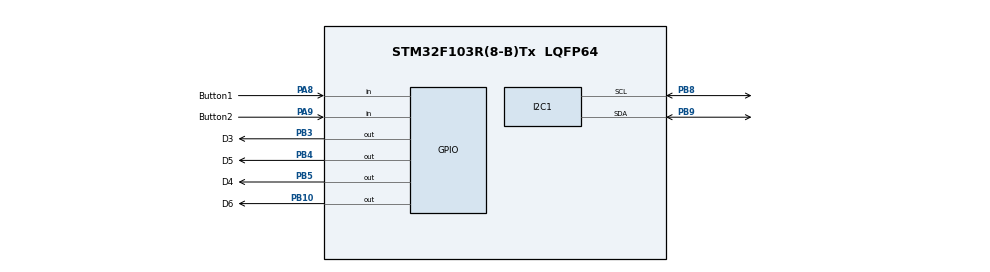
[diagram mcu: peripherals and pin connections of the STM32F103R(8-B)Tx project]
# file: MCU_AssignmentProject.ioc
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Mcu.Family=STM32F1
Mcu.Name=STM32F103R(8-B)Tx
Mcu.Package=LQFP64
NVIC.PriorityGroup=NVIC_PRIORITYGROUP_4
PA13.Mode=Serial_Wire
PA13.Signal=SYS_JTMS-SWDIO
PA14.Mode=Serial_Wire
PA14.Signal=SYS_JTCK-SWCLK
PA8.GPIO_Label=Button1
PA8.GPIO_PuPd=GPIO_PULLUP
PA8.Signal=GPIO_Input
PA9.GPIO_Label=Button2
PA9.GPIO_PuPd=GPIO_PULLUP
PA9.Signal=GPIO_Input
PB10.GPIO_Label=D6
PB10.Signal=GPIO_Output
PB3.GPIO_Label=D3
PB3.Signal=GPIO_Output
PB4.GPIO_Label=D5
PB4.Signal=GPIO_Output
PB5.GPIO_Label=D4
PB5.Signal=GPIO_Output
PB8.Mode=I2C
PB8.Signal=I2C1_SCL
PB9.Mode=I2C
PB9.Signal=I2C1_SDA
ProjectManager.HeapSize=0x200
ProjectManager.StackSize=0x400
ProjectManager.TargetToolchain=STM32CubeIDE
RCC.APB1Freq_Value=8000000
RCC.APB2Freq_Value=8000000
TIM2.Period=999
TIM2.Prescaler=639
VP_TIM2_VS_ClockSourceINT.Mode=Internal
board=custom

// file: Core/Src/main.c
/* USER CODE BEGIN Header */
/**
  ******************************************************************************
  * @file           : main.c
  * @brief          : Main program body
  ******************************************************************************
  * @attention
  *
  * <h2><center>&copy; Copyright (c) 2025 STMicroelectronics.
  * All rights reserved.</center></h2>
  *
  * This software component is licensed by ST under BSD 3-Clause license,
  * the "License"; You may not use this file except in compliance with the
  * License. You may obtain a copy of the License at:
  *                        opensource.org/licenses/BSD-3-Clause
  *
  ******************************************************************************
  */
/* USER CODE END Header */
#include "main.h"

/* USER CODE BEGIN Includes */
#include "i2c-lcd.h"
#include <stdio.h>
#include <string.h>
#include "input_processing.h"
#include "input_reading.h"
#include "traffic_logic.h"
#include "timer.h"
#include "output_display.h"
/* USER CODE END Includes */

I2C_HandleTypeDef hi2c1;

TIM_HandleTypeDef htim2;

void SystemClock_Config(void);
static void MX_GPIO_Init(void);
static void MX_I2C1_Init(void);
static void MX_TIM2_Init(void);

int main(void)
{

  /* MCU Configuration--------------------------------------------------------*/

  /* Reset of all peripherals, Initializes the Flash interface and the Systick. */
  HAL_Init();

  /* Configure the system clock */
  SystemClock_Config();

  /* Initialize all configured peripherals */
  MX_GPIO_Init();
  MX_I2C1_Init();
  MX_TIM2_Init();
  HAL_TIM_Base_Start_IT(&htim2);
  /* USER CODE BEGIN 2 */
// Khởi tạo LCD

  lcd_init();

  // Hiển thị màn hình chào
  lcd_goto_XY(1, 3); // Căn giữa dòng 1 (Hàng 1, Cột 3)
  lcd_send_string("TRAFFIC");
  lcd_goto_XY(2, 4); // Căn giữa dòng 2 (Hàng 2, Cột 4)
  lcd_send_string("PROJECT");
  HAL_Delay(2000);

  lcd_clear_display(); // Xóa màn hình để bắt đầu chương trình chính

  /* USER CODE END 2 */
  restartAllFromScratch();
  /* Infinite loop */
  while (1) {
  /* USER CODE BEGIN WHILE */
	  fsm_for_input_processing();
    /* USER CODE END WHILE */
  }
}

void SystemClock_Config(void)
{
  RCC_OscInitTypeDef RCC_OscInitStruct = {0};
  RCC_ClkInitTypeDef RCC_ClkInitStruct = {0};

  /** Initializes the RCC Oscillators according to the specified parameters
  * in the RCC_OscInitTypeDef structure.
  */
  RCC_OscInitStruct.OscillatorType = RCC_OSCILLATORTYPE_HSI;
  RCC_OscInitStruct.HSIState = RCC_HSI_ON;
  RCC_OscInitStruct.HSICalibrationValue = RCC_HSICALIBRATION_DEFAULT;
  RCC_OscInitStruct.PLL.PLLState = RCC_PLL_NONE;
  if (HAL_RCC_OscConfig(&RCC_OscInitStruct) != HAL_OK)
  {
    Error_Handler();
  }
  /** Initializes the CPU, AHB and APB buses clocks
  */
  RCC_ClkInitStruct.ClockType = RCC_CLOCKTYPE_HCLK|RCC_CLOCKTYPE_SYSCLK
                              |RCC_CLOCKTYPE_PCLK1|RCC_CLOCKTYPE_PCLK2;
  RCC_ClkInitStruct.SYSCLKSource = RCC_SYSCLKSOURCE_HSI;
  RCC_ClkInitStruct.AHBCLKDivider = RCC_SYSCLK_DIV1;
  RCC_ClkInitStruct.APB1CLKDivider = RCC_HCLK_DIV1;
  RCC_ClkInitStruct.APB2CLKDivider = RCC_HCLK_DIV1;

  if (HAL_RCC_ClockConfig(&RCC_ClkInitStruct, FLASH_LATENCY_0) != HAL_OK)
  {
    Error_Handler();
  }
}

static void MX_I2C1_Init(void)
{

  hi2c1.Instance = I2C1;
  hi2c1.Init.ClockSpeed = 100000;
  hi2c1.Init.DutyCycle = I2C_DUTYCYCLE_2;
  hi2c1.Init.OwnAddress1 = 0;
  hi2c1.Init.AddressingMode = I2C_ADDRESSINGMODE_7BIT;
  hi2c1.Init.DualAddressMode = I2C_DUALADDRESS_DISABLE;
  hi2c1.Init.OwnAddress2 = 0;
  hi2c1.Init.GeneralCallMode = I2C_GENERALCALL_DISABLE;
  hi2c1.Init.NoStretchMode = I2C_NOSTRETCH_DISABLE;
  if (HAL_I2C_Init(&hi2c1) != HAL_OK)
  {
    Error_Handler();
  }

}

static void MX_TIM2_Init(void)
{

  TIM_ClockConfigTypeDef sClockSourceConfig = {0};
  TIM_MasterConfigTypeDef sMasterConfig = {0};

  htim2.Instance = TIM2;
  htim2.Init.Prescaler = 639;
  htim2.Init.CounterMode = TIM_COUNTERMODE_UP;
  htim2.Init.Period = 999;
  htim2.Init.ClockDivision = TIM_CLOCKDIVISION_DIV1;
  htim2.Init.AutoReloadPreload = TIM_AUTORELOAD_PRELOAD_DISABLE;
  if (HAL_TIM_Base_Init(&htim2) != HAL_OK)
  {
    Error_Handler();
  }
  sClockSourceConfig.ClockSource = TIM_CLOCKSOURCE_INTERNAL;
  if (HAL_TIM_ConfigClockSource(&htim2, &sClockSourceConfig) != HAL_OK)
  {
    Error_Handler();
  }
  sMasterConfig.MasterOutputTrigger = TIM_TRGO_RESET;
  sMasterConfig.MasterSlaveMode = TIM_MASTERSLAVEMODE_DISABLE;
  if (HAL_TIMEx_MasterConfigSynchronization(&htim2, &sMasterConfig) != HAL_OK)
  {
    Error_Handler();
  }

}

static void MX_GPIO_Init(void)
{
  GPIO_InitTypeDef GPIO_InitStruct = {0};

  /* GPIO Ports Clock Enable */
  __HAL_RCC_GPIOB_CLK_ENABLE();
  __HAL_RCC_GPIOA_CLK_ENABLE();

  /*Configure GPIO pin Output Level */
  HAL_GPIO_WritePin(GPIOB, D6_Pin|D3_Pin|D5_Pin|D4_Pin, GPIO_PIN_RESET);

  /*Configure GPIO pins : D6_Pin D3_Pin D5_Pin D4_Pin */
  GPIO_InitStruct.Pin = D6_Pin|D3_Pin|D5_Pin|D4_Pin;
  GPIO_InitStruct.Mode = GPIO_MODE_OUTPUT_PP;
  GPIO_InitStruct.Pull = GPIO_NOPULL;
  GPIO_InitStruct.Speed = GPIO_SPEED_FREQ_LOW;
  HAL_GPIO_Init(GPIOB, &GPIO_InitStruct);

  /*Configure GPIO pins : Button1_Pin Button2_Pin */
  GPIO_InitStruct.Pin = Button1_Pin|Button2_Pin;
  GPIO_InitStruct.Mode = GPIO_MODE_INPUT;
  GPIO_InitStruct.Pull = GPIO_PULLUP;
  HAL_GPIO_Init(GPIOA, &GPIO_InitStruct);

}

void Error_Handler(void)
{
  __disable_irq();
  while (1)
  {
  }
}

/************************ (C) COPYRIGHT STMicroelectronics *****END OF FILE****/
